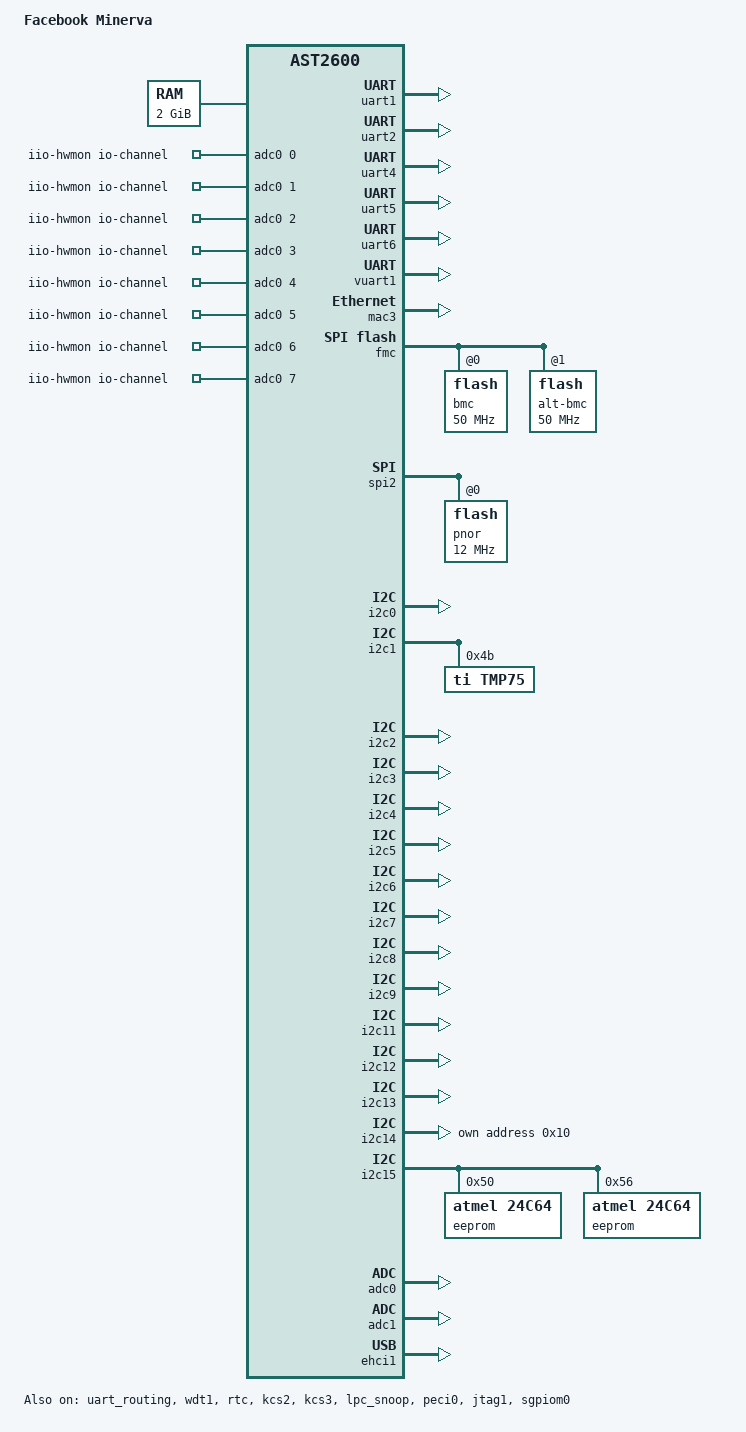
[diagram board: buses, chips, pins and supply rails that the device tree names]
// SPDX-License-Identifier: GPL-2.0+
// Copyright (c) 2023 Facebook Inc.
/dts-v1/;

#include "aspeed-g6.dtsi"
#include <dt-bindings/gpio/aspeed-gpio.h>
#include <dt-bindings/i2c/i2c.h>

/ {
	model = "Facebook Minerva";
	compatible = "facebook,minerva-bmc", "aspeed,ast2600";

	aliases {
		serial0 = &uart1;
		serial4 = &uart5;
	};

	chosen {
		stdout-path = &uart5;
	};

	memory@80000000 {
		device_type = "memory";
		reg = <0x80000000 0x80000000>;
	};

	iio-hwmon {
		compatible = "iio-hwmon";
		io-channels = <&adc0 0>, <&adc0 1>, <&adc0 2>, <&adc0 3>,
			<&adc0 4>, <&adc0 5>, <&adc0 6>, <&adc0 7>,
			<&adc1 2>;
	};
};

// HOST BIOS Debug
&uart1 {
	status = "okay";
};

// SOL Host Console
&uart2 {
	status = "okay";
	pinctrl-0 = <>;
};

// SOL BMC Console
&uart4 {
	status = "okay";
	pinctrl-0 = <>;
};

// BMC Debug Console
&uart5 {
	status = "okay";
};

//MTIA
&uart6 {
	status = "okay";
};

&uart_routing {
	status = "okay";
};

&vuart1 {
	status = "okay";
	virtual;
	port=<0x3e8>;
	sirq = <7>;
	sirq-polarity = <0>;
	dma-mode;
	dma-channel = <12>;
};

&wdt1 {
	status = "okay";
	pinctrl-names = "default";
	pinctrl-0 = <&pinctrl_wdtrst1_default>;
	aspeed,reset-type = "soc";
	aspeed,external-signal;
	aspeed,ext-push-pull;
	aspeed,ext-active-high;
	aspeed,ext-pulse-duration = <256>;
};

&mac3 {
	status = "okay";
	pinctrl-names = "default";
	pinctrl-0 = <&pinctrl_rmii4_default>;
	no-hw-checksum;
	use-ncsi;
	ncsi-ctrl,start-redo-probe;
	ncsi-ctrl,no-channel-monitor;
	mlx,multi-host;
	ncsi-package = <1>;
	ncsi-channel = <1>;
	ncsi-rexmit = <1>;
	ncsi-timeout = <2>;
};

&rtc {
	status = "okay";
};

&fmc {
	status = "okay";

	flash@0 {
		status = "okay";
		m25p,fast-read;
		label = "bmc";
		spi-max-frequency = <50000000>;
#include "openbmc-flash-layout-128.dtsi"
	};

	flash@1 {
		status = "okay";
		m25p,fast-read;
		label = "alt-bmc";
		spi-max-frequency = <50000000>;
	};
};

//BIOS Flash
&spi2 {
	status = "okay";
	pinctrl-names = "default";
	pinctrl-0 = <&pinctrl_spi2_default>;

	flash@0 {
		status = "okay";
		m25p,fast-read;
		label = "pnor";
		spi-max-frequency = <12000000>;
		spi-tx-bus-width = <2>;
		spi-rx-bus-width = <2>;
	};
};

&kcs2 {
	status = "okay";
	aspeed,lpc-io-reg = <0xca8>;
};

&kcs3 {
	status = "okay";
	aspeed,lpc-io-reg = <0xca2>;
};

&lpc_snoop {
	status = "okay";
	snoop-ports = <0x80>;
};

&peci0 {
	status = "okay";
	clock-frequency = <1000000>;
};

&i2c0 {
	status = "okay";
};

&i2c1 {
	status = "okay";

	tmp75@4B {
		compatible = "ti,tmp75";
		reg = <0x4B>;
	};
};

&i2c2 {
	status = "okay";
};

&i2c3 {
	status = "okay";
};

&i2c4 {
	status = "okay";
};

&i2c5 {
	status = "okay";
};

&i2c6 {
	status = "okay";
};

&i2c7 {
	status = "okay";
};

&i2c8 {
	status = "okay";
};

&i2c9 {
	status = "okay";
};

&i2c11 {
	status = "okay";
};

&i2c12 {
	status = "okay";
};

&i2c13 {
	status = "okay";
};

// To Debug card
&i2c14 {
	status = "okay";
	multi-master;

	ipmb@10 {
		compatible = "ipmb-dev";
		reg = <(0x10 | I2C_OWN_SLAVE_ADDRESS)>;
		i2c-protocol;
	};
};

&i2c15 {
	status = "okay";

	// SCM FRU
	eeprom@50 {
		compatible = "atmel,24c64";
		reg = <0x50>;
	};
	// BSM FRU
	eeprom@56 {
		compatible = "atmel,24c64";
		reg = <0x56>;
	};
};

&adc0 {
	ref_voltage = <2500>;
	status = "okay";
	pinctrl-0 = <&pinctrl_adc0_default &pinctrl_adc1_default
		&pinctrl_adc2_default &pinctrl_adc3_default
		&pinctrl_adc4_default &pinctrl_adc5_default
		&pinctrl_adc6_default &pinctrl_adc7_default>;
};

&adc1 {
	ref_voltage = <2500>;
	status = "okay";
	pinctrl-names = "default";
	pinctrl-0 = <&pinctrl_adc10_default>;
};

&jtag1 {
	status = "okay";
	pinctrl-names = "default";
	pinctrl-0 = <&pinctrl_jtagm_default>;
};

&ehci1 {
	status = "okay";
};

&gpio0 {
	pinctrl-names = "default";
	gpio-line-names =
	/*A0-A7*/	"","","","","","","","",
	/*B0-B7*/	"","","","","","FM_ID_LED_N","","",
	/*C0-C7*/	"","","","","","","","",
	/*D0-D7*/	"","","SOL_UART_SET","","","","","",
	/*E0-E7*/	"","","","","","","","",
	/*F0-F7*/	"","","","","","","","",
	/*G0-G7*/	"","","","","","","","",
	/*H0-H7*/	"","","","","","","","",
	/*I0-I7*/	"","","","","","","","",
	/*J0-J7*/	"","","","","","","","",
	/*K0-K7*/	"","","","","","","","",
	/*L0-L7*/	"","","","","","","","",
	/*M0-M7*/	"","","","","","","","",
	/*N0-N7*/	"LED_POSTCODE_0","LED_POSTCODE_1",
			"LED_POSTCODE_2","LED_POSTCODE_3",
			"LED_POSTCODE_4","LED_POSTCODE_5",
			"LED_POSTCODE_6","LED_POSTCODE_7",
	/*O0-O7*/	"","","","","","","","",
	/*P0-P7*/	"FP_SYS_PWRBTN_IN_N","BMC_SYS_PWRBTN_OUT_N",
			"FP_RST_BTN_IN_N","","","","","",
	/*Q0-Q7*/	"","","","","","","","",
	/*R0-R7*/	"","","","","","","","",
	/*S0-S7*/	"","","","","","","","",
	/*T0-T7*/	"","","","","","","","",
	/*U0-U7*/	"","","","","","","","",
	/*V0-V7*/	"","","","","","","","",
	/*W0-W7*/	"","","","","","","","",
	/*X0-X7*/	"","","","","","","","",
	/*Y0-Y7*/	"","","","","","","","",
	/*Z0-Z7*/	"","","","","","","","";
};

&sgpiom0 {
	status = "okay";
	max-ngpios = <128>;
	ngpios = <128>;
	bus-frequency = <2000000>;
	gpio-line-names =
	/*in - out - in - out */
	/*A0-A3 line 0-7*/
	"","","","","","ENABLE_SENSORS","","",
	/*A4-A7 line 8-15*/
	"","","","","","","","",
	/*B0-B3 line 16-23*/
	"","","","","","BMC_RST_BTN_OUT_N","","",
	/*B4-B7 line 24-31*/
	"","","","","","","","",
	/*C0-C3 line 32-39*/
	"","","","","","","","",
	/*C4-C7 line 40-47*/
	"","","","","","","","",
	/*D0-D3 line 48-55*/
	"","","","","","","","",
	/*D4-D7 line 56-63*/
	"","","","","","","","",
	/*E0-E3 line 64-71*/
	"","","","","","","","",
	/*E4-E7 line 72-79*/
	"","","","","","","","",
	/*F0-F3 line 80-87*/
	"","","","","","","","",
	/*F4-F7 line 88-95*/
	"","","","","","","","",
	/*G0-G3 line 96-103*/
	"","","","","","","","",
	/*G4-G7 line 104-111*/
	"","","","","","","","",
	/*H0-H3 line 112-119*/
	"","","","","PLD_SYS_POWER_GOOD","","","",
	/*H4-H7 line 120-127*/
	"","","","","","","","",
	/*I0-I3 line 128-135*/
	"","","","","","","","",
	/*I4-I7 line 136-143*/
	"","","","","","","","",
	/*J0-J3 line 144-151*/
	"","","PLD_BIOS_POST_CMPLT_N","","","","","",
	/*J4-J7 line 152-159*/
	"","","","","","","","",
	/*K0-K3 line 160-167*/
	"","","","","","","","",
	/*K4-K7 line 168-175*/
	"","","","","","","","",
	/*L0-L3 line 176-183*/
	"","","","","","","","",
	/*L4-L7 line 184-191*/
	"","","","","","","","",
	/*M0-M3 line 192-199*/
	"","","","","","","","",
	/*M4-M7 line 200-207*/
	"","","","","","","","",
	/*N0-N3 line 208-215*/
	"","","","","","","","",
	/*N4-N7 line 216-223*/
	"","","","","","","","",
	/*O0-O3 line 224-231*/
	"","","","","","","","",
	/*O4-O7 line 232-239*/
	"","","","","","","","",
	/*P0-P3 line 240-247*/
	"","","","","","","","",
	/*P4-P7 line 248-255*/
	"","","","","","","","";
};
